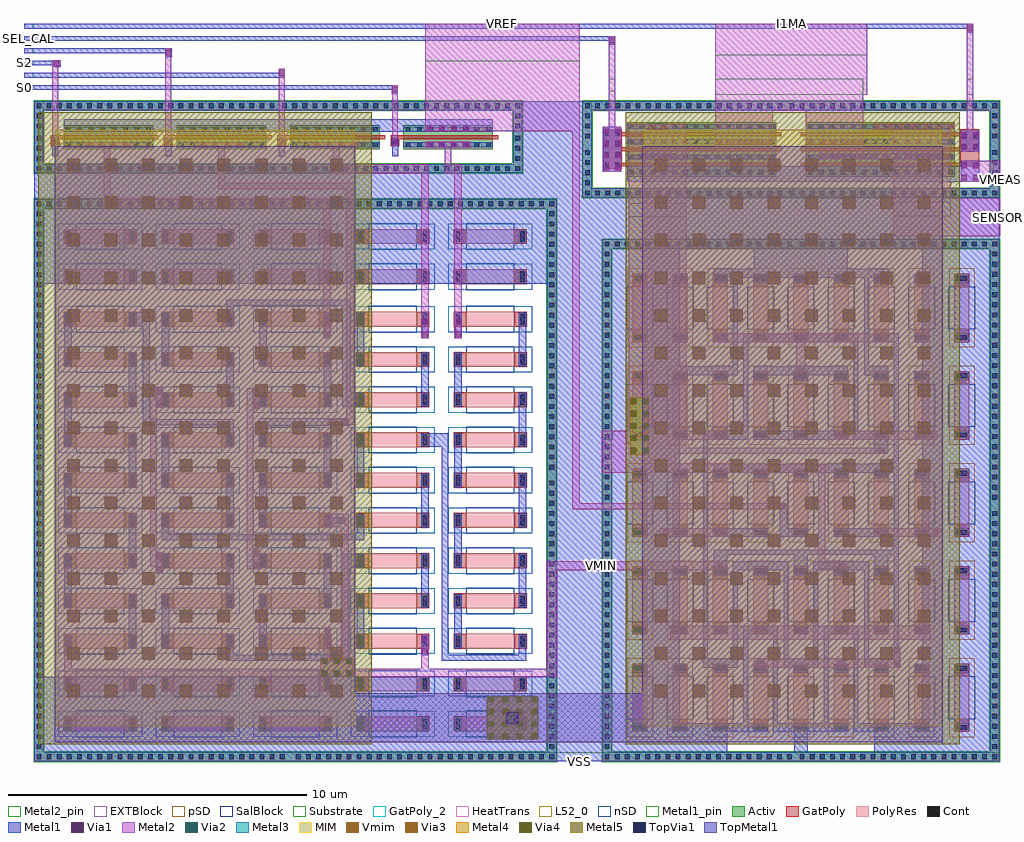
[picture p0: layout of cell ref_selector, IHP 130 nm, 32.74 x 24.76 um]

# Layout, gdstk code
from math import pi, radians
import gdstk
lib = gdstk.Library(unit=1e-6, precision=1e-09)
def R(c, l, rs):  # rectangles x0, y0, x1, y1
    for r in rs: c.add(gdstk.rectangle(r[:2], r[2:], *l))
def A(c, l, x, y, w, h, nx, ny, dx, dy):  # array of equal rectangles
    R(c, l, [(x+i*dx, y+j*dy, x+i*dx+w, y+j*dy+h) for i in range(nx) for j in range(ny)])
def P(c, l, *ps):  # polygons
    for p in ps: c.add(gdstk.Polygon(p, *l))
Activ = (1, 0)
GatPoly = (5, 0)
GatPoly_2 = (5, 2)
Cont = (6, 0)
nSD = (7, 0)
Metal1 = (8, 0)
Metal1_pin = (8, 2)
Metal2 = (10, 0)
Metal2_pin = (10, 2)
pSD = (14, 0)
Via1 = (19, 0)
SalBlock = (28, 0)
Via2 = (29, 0)
Metal3 = (30, 0)
MIM = (36, 0)
Substrate = (40, 0)
Via3 = (49, 0)
Metal4 = (50, 0)
HeatTrans = (51, 0)
L52_0 = (52, 0)
Via4 = (66, 0)
Metal5 = (67, 0)
EXTBlock = (111, 0)
TopVia1 = (125, 0)
TopMetal1 = (126, 0)
PolyRes = (128, 0)
Vmim = (129, 0)

rhigh_2 = lib.new_cell('rhigh$2')
A(rhigh_2, GatPoly, 0, -0.43, 0.5, 0.43, 3, 2, 1.35, 2.03)
A(rhigh_2, Cont, 0.07, -0.36, 0.36, 0.16, 3, 2, 1.35, 2.16)
A(rhigh_2, nSD, -0.18, -0.61, 0.86, 0.79, 3, 2, 1.35, 2.03)
R(rhigh_2, nSD, [(-0.18,0,0.68,1.6), (-0.18,0,0.68,1.6), (1.17,0,2.03,1.6), (1.17,0,2.03,1.6), (2.52,0,3.38,1.6), (2.52,0,3.38,1.6)])
A(rhigh_2, Metal1, 0.02, -0.41, 0.46, 0.26, 3, 2, 1.35, 2.16)
R(rhigh_2, Metal1, [(1.37,-0.41,3.18,-0.15), (0.02,1.75,1.83,2.01)])
A(rhigh_2, Metal1_pin, 0.02, -0.41, 0.46, 0.26, 3, 2, 1.35, 2.16)
A(rhigh_2, pSD, -0.18, -0.61, 0.86, 0.79, 3, 2, 1.35, 2.03)
R(rhigh_2, pSD, [(-0.18,0,0.68,1.6), (-0.18,0,0.68,1.6), (1.17,0,2.03,1.6), (1.17,0,2.03,1.6), (2.52,0,3.38,1.6), (2.52,0,3.38,1.6)])
A(rhigh_2, SalBlock, -0.2, 0, 0.9, 1.6, 3, 1, 1.35, 0)
A(rhigh_2, L52_0, 0, 0, 0.5, 1.6, 3, 1, 1.35, 0)
A(rhigh_2, EXTBlock, -0.18, -0.61, 0.86, 0.79, 3, 2, 1.35, 2.03)
A(rhigh_2, EXTBlock, -0.2, 0, 0.9, 1.6, 3, 1, 1.35, 0)
A(rhigh_2, PolyRes, 0, 0, 0.5, 1.6, 3, 1, 1.35, 0)
rhigh_2.add(gdstk.Label('rhigh r=5050.435', (0.25,0.8), layer=63, texttype=0))
rhigh_2.add(gdstk.Label('rhigh r=5050.435', (0.25,0.8), layer=63, texttype=0))
rhigh_2.add(gdstk.Label('rhigh r=5050.435', (0.25,0.8), layer=63, texttype=0))
rhigh_2.add(gdstk.Label('rhigh', (0.25,0.8), layer=52, texttype=0))
rhigh_2.add(gdstk.Label('rhigh', (1.6,0.8), layer=52, texttype=0))
rhigh_2.add(gdstk.Label('rhigh', (2.95,0.8), layer=52, texttype=0))

ref_selector_runit_h = lib.new_cell('ref_selector_runit_h')
ref_selector_runit_h.add(gdstk.Reference(rhigh_2, (-1.6,-0.8)))

via_stack_1 = lib.new_cell('via_stack$1')
R(via_stack_1, Metal1, [(-0.35,-0.105,0.35,0.105)])
R(via_stack_1, Metal2, [(-0.35,-0.1,0.35,0.1)])
R(via_stack_1, Via1, [(-0.3,-0.095,-0.11,0.095), (0.11,-0.095,0.3,0.095)])

rhigh_1_1 = lib.new_cell('rhigh$1$1')
R(rhigh_1_1, GatPoly, [(0,-0.43,0.5,0), (1.35,-0.43,1.85,0), (0,1.6,0.5,2.03), (1.35,1.6,1.85,2.03)])
R(rhigh_1_1, Cont, [(0.07,-0.36,0.43,-0.2), (1.42,-0.36,1.78,-0.2), (0.07,1.8,0.43,1.96), (1.42,1.8,1.78,1.96)])
R(rhigh_1_1, nSD, [(-0.18,-0.61,0.68,0.18), (1.17,-0.61,2.03,0.18), (-0.18,0,0.68,1.6), (-0.18,0,0.68,1.6), (1.17,0,2.03,1.6), (1.17,0,2.03,1.6), (-0.18,1.42,0.68,2.21), (1.17,1.42,2.03,2.21)])
R(rhigh_1_1, Metal1, [(0.02,-0.41,0.48,-0.15), (0.02,-0.41,1.83,-0.15), (1.37,-0.41,1.83,-0.15), (0.02,1.75,0.48,2.01), (0.02,1.75,1.83,2.01), (1.37,1.75,1.83,2.01)])
R(rhigh_1_1, Metal1_pin, [(0.02,-0.41,0.48,-0.15), (1.37,-0.41,1.83,-0.15), (0.02,1.75,0.48,2.01), (1.37,1.75,1.83,2.01)])
R(rhigh_1_1, pSD, [(-0.18,-0.61,0.68,0.18), (1.17,-0.61,2.03,0.18), (-0.18,0,0.68,1.6), (-0.18,0,0.68,1.6), (1.17,0,2.03,1.6), (1.17,0,2.03,1.6), (-0.18,1.42,0.68,2.21), (1.17,1.42,2.03,2.21)])
R(rhigh_1_1, SalBlock, [(-0.2,0,0.7,1.6), (1.15,0,2.05,1.6)])
R(rhigh_1_1, L52_0, [(0,0,0.5,1.6), (1.35,0,1.85,1.6)])
R(rhigh_1_1, EXTBlock, [(-0.18,-0.61,0.68,0.18), (1.17,-0.61,2.03,0.18), (-0.2,0,0.7,1.6), (1.15,0,2.05,1.6), (-0.18,1.42,0.68,2.21), (1.17,1.42,2.03,2.21)])
R(rhigh_1_1, PolyRes, [(0,0,0.5,1.6), (1.35,0,1.85,1.6)])
rhigh_1_1.add(gdstk.Label('rhigh r=5050.435', (0.25,0.8), layer=63, texttype=0))
rhigh_1_1.add(gdstk.Label('rhigh r=5050.435', (0.25,0.8), layer=63, texttype=0))
rhigh_1_1.add(gdstk.Label('rhigh', (0.25,0.8), layer=52, texttype=0))
rhigh_1_1.add(gdstk.Label('rhigh', (1.6,0.8), layer=52, texttype=0))

via_stack_2_2 = lib.new_cell('via_stack$2$2')
R(via_stack_2_2, Metal1, [(-0.105,-0.35,0.105,0.35)])
R(via_stack_2_2, Metal2, [(-0.1,-0.35,0.1,0.35)])
R(via_stack_2_2, Via1, [(-0.095,-0.3,0.095,-0.11), (-0.095,0.11,0.095,0.3)])

guard_ring_1 = lib.new_cell('guard_ring$1')
R(guard_ring_1, Activ, [(-9.425,-8.45,-9.125,8.45), (9.125,-8.45,9.425,8.45), (-9.425,8.45,9.425,8.75)])
P(guard_ring_1, Activ, [(-9.425,-8.75),(-9.425,8.45),(-9.125,8.45),(-9.125,-8.45),(9.125,-8.45),(9.125,8.45),(-9.425,8.45),(-9.425,8.75),(9.425,8.75),(9.425,-8.75)])
A(guard_ring_1, Cont, -9.355, -8.68, 0.16, 0.16, 27, 2, 0.34, 17.2)
A(guard_ring_1, Cont, 0.015, -8.68, 0.16, 0.16, 28, 2, 0.34, 17.2)
A(guard_ring_1, Cont, -9.355, -8.34, 0.16, 0.16, 1, 24, 0, 0.34)
A(guard_ring_1, Cont, 9.195, -8.34, 0.16, 0.16, 1, 24, 0, 0.34)
A(guard_ring_1, Cont, -9.355, 0.02, 0.16, 0.16, 1, 25, 0, 0.34)
A(guard_ring_1, Cont, 9.195, 0.02, 0.16, 0.16, 1, 25, 0, 0.34)
R(guard_ring_1, Metal1, [(-9.425,-8.75,9.425,-8.45), (-9.425,-8.45,-9.125,8.45), (9.125,-8.45,9.425,8.45), (-9.425,8.45,9.425,8.75)])
R(guard_ring_1, pSD, [(-9.455,-8.42,-9.095,8.42), (9.095,-8.42,9.455,8.42), (-9.455,8.42,9.455,8.78)])
P(guard_ring_1, pSD, [(-9.455,-8.78),(-9.455,8.42),(-9.095,8.42),(-9.095,-8.42),(9.095,-8.42),(9.095,8.42),(-9.455,8.42),(-9.455,8.78),(9.455,8.78),(9.455,-8.78)])
R(guard_ring_1, Substrate, [(-9.455,-8.42,-9.095,8.42), (9.095,-8.42,9.455,8.42), (-9.455,8.42,9.455,8.78)])
P(guard_ring_1, Substrate, [(-9.455,-8.78),(-9.455,8.42),(-9.095,8.42),(-9.095,-8.42),(9.095,-8.42),(9.095,8.42),(-9.455,8.42),(-9.455,8.78),(9.455,8.78),(9.455,-8.78)])
guard_ring_1.add(gdstk.Label('sub!', (0,-8.6), layer=63, texttype=0))

ref_selector_r_refs = lib.new_cell('ref_selector_r_refs')
R(ref_selector_r_refs, Metal1, [(-9.425,-8.75,-6.595,8.75), (6.595,-8.75,9.425,8.75), (-2.93,-7.75,-1.12,-7.49), (-5.63,-5.59,-5.17,-4.885), (1.12,-5.59,2.93,-5.33), (-5.63,-5.11,-1.845,-4.885), (-2.045,-5.11,-1.845,-2.06), (1.12,-4.48,2.01,-4.22), (1.81,-4.48,2.01,2.32), (-6.055,-2.32,-5.855,1.84), (-6.055,-2.32,-5.17,-2.06), (-2.045,-2.32,-1.12,-2.06), (5.17,-2.32,6.055,-2.06), (5.855,-2.32,6.055,1.84), (-2.08,-1.21,-1.12,-0.95), (-2.08,-1.21,-1.825,1.795), (-6.055,1.58,-2.47,1.84), (-2.93,1.58,-2.47,2.32), (2.47,1.58,2.93,2.32), (2.47,1.58,6.055,1.84), (1.12,2.06,2.01,2.32), (-1.58,4.22,-1.12,5.125), (-1.58,4.92,6.055,5.125), (5.855,4.92,6.055,7.75), (1.12,5.33,2.93,5.59), (-2.93,7.49,-1.12,7.75), (5.17,7.49,6.055,7.75)])
R(ref_selector_r_refs, Metal1_pin, [(-9.425,-8.75,9.425,-8.45)])
R(ref_selector_r_refs, Metal2, [(5.17,-7.75,6.595,-7.49), (6.325,-7.75,6.595,8.78), (-3.125,-4.86,2.885,-4.655), (-3.085,-1.62,2.98,-1.415), (-9.455,0.94,-4.76,1.185), (1.12,0.95,1.58,1.79), (5.17,0.95,6.595,1.21), (1.12,1.53,6.595,1.79), (-9.455,1.71,-1.855,1.955), (5.17,4.22,6.595,4.48), (-9.455,4.23,-4.76,4.475), (-9.455,5.34,-4.76,5.585)])
R(ref_selector_r_refs, Metal2_pin, [(-9.455,0.94,-9.095,1.185), (-9.455,1.71,-9.095,1.955), (-9.455,4.23,-9.095,4.475), (-9.455,5.34,-9.125,5.585), (6.325,8.52,6.595,8.78)])
ref_selector_r_refs.add(gdstk.Reference(ref_selector_runit_h, (4.05,-6.54), x_reflection=True))
ref_selector_r_refs.add(gdstk.Reference(ref_selector_runit_h, (0,-6.54)))
ref_selector_r_refs.add(gdstk.Reference(ref_selector_runit_h, (-4.05,-6.54), x_reflection=True))
ref_selector_r_refs.add(gdstk.Reference(ref_selector_runit_h, (4.05,-3.27)))
ref_selector_r_refs.add(gdstk.Reference(ref_selector_runit_h, (0,-3.27), x_reflection=True))
ref_selector_r_refs.add(gdstk.Reference(ref_selector_runit_h, (-4.05,-3.27), x_reflection=True))
ref_selector_r_refs.add(gdstk.Reference(ref_selector_runit_h, (4.05,0), rotation=pi))
ref_selector_r_refs.add(gdstk.Reference(ref_selector_runit_h, (0,0)))
ref_selector_r_refs.add(gdstk.Reference(ref_selector_runit_h, (-4.05,0), rotation=pi, x_reflection=True))
ref_selector_r_refs.add(gdstk.Reference(ref_selector_runit_h, (4.05,3.27)))
ref_selector_r_refs.add(gdstk.Reference(ref_selector_runit_h, (0,3.27), x_reflection=True))
ref_selector_r_refs.add(gdstk.Reference(ref_selector_runit_h, (-4.05,3.27), x_reflection=True))
ref_selector_r_refs.add(gdstk.Reference(ref_selector_runit_h, (4.05,6.54)))
ref_selector_r_refs.add(gdstk.Reference(ref_selector_runit_h, (0,6.54), x_reflection=True))
ref_selector_r_refs.add(gdstk.Reference(ref_selector_runit_h, (-4.05,6.54)))
ref_selector_r_refs.add(gdstk.Reference(via_stack_1, (2.775,-4.555)))
ref_selector_r_refs.add(gdstk.Reference(via_stack_1, (-2.775,-4.555)))
ref_selector_r_refs.add(gdstk.Reference(via_stack_1, (2.63,-1.315)))
ref_selector_r_refs.add(gdstk.Reference(via_stack_1, (-2.735,-1.315)))
r = gdstk.Reference(rhigh_1_1, (-8.425,-7.34)); r.repetition = gdstk.Repetition(2, 5, v1=(15,0), v2=(0,3.27)); ref_selector_r_refs.add(r)
ref_selector_r_refs.add(gdstk.Reference(via_stack_2_2, (1.35,1.33)))
ref_selector_r_refs.add(gdstk.Reference(via_stack_1, (5.52,4.34)))
ref_selector_r_refs.add(gdstk.Reference(via_stack_1, (5.275,1.09)))
ref_selector_r_refs.add(gdstk.Reference(via_stack_1, (5.525,-7.615)))
ref_selector_r_refs.add(gdstk.Reference(via_stack_2_2, (-1.955,1.44)))
ref_selector_r_refs.add(gdstk.Reference(via_stack_1, (-5.11,1.07)))
ref_selector_r_refs.add(gdstk.Reference(via_stack_1, (-5.11,4.36)))
ref_selector_r_refs.add(gdstk.Reference(via_stack_1, (-5.11,5.47)))
ref_selector_r_refs.add(gdstk.Reference(guard_ring_1, (0,0)))
ref_selector_r_refs.add(gdstk.Label('VSS', (0,-8.75), layer=8, texttype=2))
ref_selector_r_refs.add(gdstk.Label('R2', (-9.455,1.063), layer=10, texttype=2))
ref_selector_r_refs.add(gdstk.Label('R3', (-9.455,1.833), layer=10, texttype=2))
ref_selector_r_refs.add(gdstk.Label('Vmin', (6.43,8.775), layer=10, texttype=2))
ref_selector_r_refs.add(gdstk.Label('R1', (-9.455,4.353), layer=10, texttype=2))
ref_selector_r_refs.add(gdstk.Label('R0', (-9.455,5.463), layer=10, texttype=2))

guard_ring_6 = lib.new_cell('guard_ring$6')
R(guard_ring_6, Activ, [(-1.205,-7.88,-0.905,7.88), (0.905,-7.88,1.205,7.88), (-1.205,7.88,1.205,8.18)])
P(guard_ring_6, Activ, [(-1.205,-8.18),(-1.205,7.88),(-0.905,7.88),(-0.905,-7.88),(0.905,-7.88),(0.905,7.88),(-1.205,7.88),(-1.205,8.18),(1.205,8.18),(1.205,-8.18)])
A(guard_ring_6, Cont, -1.135, -8.11, 0.16, 0.16, 3, 2, 0.34, 16.06)
A(guard_ring_6, Cont, -0.045, -8.11, 0.16, 0.16, 4, 2, 0.34, 16.06)
A(guard_ring_6, Cont, -1.135, -7.77, 0.16, 0.16, 1, 23, 0, 0.34)
A(guard_ring_6, Cont, 0.975, -7.77, 0.16, 0.16, 1, 23, 0, 0.34)
A(guard_ring_6, Cont, -1.135, 0.13, 0.16, 0.16, 1, 23, 0, 0.34)
A(guard_ring_6, Cont, 0.975, 0.13, 0.16, 0.16, 1, 23, 0, 0.34)
R(guard_ring_6, Metal1, [(-1.205,-8.18,1.205,-7.88), (-1.205,-7.88,-0.905,7.88), (0.905,-7.88,1.205,7.88), (-1.205,7.88,1.205,8.18)])
R(guard_ring_6, pSD, [(-1.235,-7.85,-0.875,7.85), (0.875,-7.85,1.235,7.85), (-1.235,7.85,1.235,8.21)])
P(guard_ring_6, pSD, [(-1.235,-8.21),(-1.235,7.85),(-0.875,7.85),(-0.875,-7.85),(0.875,-7.85),(0.875,7.85),(-1.235,7.85),(-1.235,8.21),(1.235,8.21),(1.235,-8.21)])
R(guard_ring_6, Substrate, [(-1.235,-7.85,-0.875,7.85), (0.875,-7.85,1.235,7.85), (-1.235,7.85,1.235,8.21)])
P(guard_ring_6, Substrate, [(-1.235,-8.21),(-1.235,7.85),(-0.875,7.85),(-0.875,-7.85),(0.875,-7.85),(0.875,7.85),(-1.235,7.85),(-1.235,8.21),(1.235,8.21),(1.235,-8.21)])
guard_ring_6.add(gdstk.Label('sub!', (0,-8.03), layer=63, texttype=0))

nmos_1_1 = lib.new_cell('nmos$1$1')
R(nmos_1_1, Activ, [(0,0,0.3,0.3), (0,0,0.81,3), (0.51,0,0.81,0.3)])
R(nmos_1_1, GatPoly, [(0.34,-0.18,0.47,3.18)])
R(nmos_1_1, GatPoly_2, [(0.34,-0.18,0.47,3.18)])
A(nmos_1_1, Cont, 0.07, 0.07, 0.16, 0.16, 1, 7, 0, 0.385)
A(nmos_1_1, Cont, 0.58, 0.07, 0.16, 0.16, 1, 7, 0, 0.385)
R(nmos_1_1, Cont, [(0.07,2.77,0.23,2.93), (0.58,2.77,0.74,2.93)])
R(nmos_1_1, Metal1, [(0.07,0,0.23,3), (0.58,0,0.74,3)])
R(nmos_1_1, Metal1_pin, [(0.07,0,0.23,3), (0.58,0,0.74,3)])
R(nmos_1_1, HeatTrans, [(0.34,-0.18,0.47,3.18)])
nmos_1_1.add(gdstk.Label('nmos', (0.405,1.5), layer=63, texttype=0))
nmos_1_1.add(gdstk.Label('nmos', (0.405,1.5), layer=51, texttype=0))

via_stack_32 = lib.new_cell('via_stack$32')
R(via_stack_32, GatPoly, [(-0.15,-0.15,0.15,0.15)])
R(via_stack_32, Cont, [(-0.08,-0.08,0.08,0.08)])
R(via_stack_32, Metal1, [(-0.145,-0.105,0.145,0.105)])
R(via_stack_32, Metal2, [(-0.145,-0.1,0.145,0.1)])
R(via_stack_32, Via1, [(-0.095,-0.095,0.095,0.095)])

via_stack_4_2 = lib.new_cell('via_stack$4$2')
R(via_stack_4_2, Metal1, [(-0.105,-0.76,0.105,0.76)])
R(via_stack_4_2, Metal2, [(-0.1,-0.76,0.1,0.76)])
A(via_stack_4_2, Via1, -0.095, -0.71, 0.19, 0.19, 1, 4, 0, 0.41)

ref_selector_r_switch = lib.new_cell('ref_selector_r_switch')
A(ref_selector_r_switch, GatPoly, -0.065, -7.635, 0.38, 0.3, 1, 4, 0, 3.8)
A(ref_selector_r_switch, Metal1, 0.02, -7.585, 0.615, 0.205, 1, 4, 0, 3.8)
R(ref_selector_r_switch, Metal1, [(-0.595,-7.2,-0.175,7.2)])
R(ref_selector_r_switch, Metal1_pin, [(-1.205,-8.18,1.205,-7.88)])
A(ref_selector_r_switch, Metal2, -1.235, -7.585, 1.545, 0.2, 1, 4, 0, 3.8)
A(ref_selector_r_switch, Metal2, 0.16, -5.855, 1.075, 0.22, 1, 3, 0, 3.845)
R(ref_selector_r_switch, Metal2, [(-1.235,4.925,-0.19,6.45), (0.16,5.58,1.235,5.8)])
A(ref_selector_r_switch, Metal2_pin, -1.235, -7.585, 0.36, 0.2, 1, 4, 0, 3.8)
A(ref_selector_r_switch, Metal2_pin, 0.94, -5.855, 0.295, 0.22, 1, 3, 0, 3.845)
R(ref_selector_r_switch, Metal2_pin, [(-1.235,4.925,-0.875,6.45), (0.94,5.58,1.235,5.8)])
ref_selector_r_switch.add(gdstk.Reference(guard_ring_6, (0,0)))
r = gdstk.Reference(nmos_1_1, (-0.405,-7.2)); r.repetition = gdstk.Repetition(1, 4, v1=(0,0), v2=(0,3.8)); ref_selector_r_switch.add(r)
ref_selector_r_switch.add(gdstk.Reference(via_stack_32, (0.165,3.915)))
ref_selector_r_switch.add(gdstk.Reference(via_stack_32, (0.165,0.115)))
ref_selector_r_switch.add(gdstk.Reference(via_stack_32, (0.165,-3.685)))
ref_selector_r_switch.add(gdstk.Reference(via_stack_32, (0.165,-7.485)))
ref_selector_r_switch.add(gdstk.Reference(via_stack_4_2, (0.255,5.69)))
ref_selector_r_switch.add(gdstk.Reference(via_stack_4_2, (0.255,1.945)))
ref_selector_r_switch.add(gdstk.Reference(via_stack_4_2, (0.255,-1.9)))
ref_selector_r_switch.add(gdstk.Reference(via_stack_4_2, (0.255,-5.745)))
ref_selector_r_switch.add(gdstk.Reference(via_stack_4_2, (-0.29,5.69)))
ref_selector_r_switch.add(gdstk.Label('vss', (0,-8.18), layer=8, texttype=2))
ref_selector_r_switch.add(gdstk.Label('vref', (-1.235,5.545), layer=10, texttype=2))
ref_selector_r_switch.add(gdstk.Label('S0', (-1.235,3.915), layer=10, texttype=2))
ref_selector_r_switch.add(gdstk.Label('S1', (-1.235,0.115), layer=10, texttype=2))
ref_selector_r_switch.add(gdstk.Label('S2', (-1.235,-7.47), layer=10, texttype=2))
ref_selector_r_switch.add(gdstk.Label('S3', (-1.235,-3.63), layer=10, texttype=2))
ref_selector_r_switch.add(gdstk.Label('R0', (1.235,5.69), layer=10, texttype=2))
ref_selector_r_switch.add(gdstk.Label('R1', (1.235,1.945), layer=10, texttype=2))
ref_selector_r_switch.add(gdstk.Label('R2', (1.235,-5.69), layer=10, texttype=2))
ref_selector_r_switch.add(gdstk.Label('R3', (1.235,-1.895), layer=10, texttype=2))

via_stack_3_2 = lib.new_cell('via_stack$3$2')
R(via_stack_3_2, Metal1, [(-0.145,-0.105,0.145,0.105)])
R(via_stack_3_2, Metal2, [(-0.145,-0.1,0.145,0.1)])
R(via_stack_3_2, Via1, [(-0.095,-0.095,0.095,0.095)])

rppd_1 = lib.new_cell('rppd$1')
R(rppd_1, GatPoly, [(0,-0.43,0.5,-0.2), (0,-0.2,0.5,0), (0,1.43,0.5,1.63), (0,1.63,0.5,1.86)])
R(rppd_1, Cont, [(0.07,-0.36,0.43,-0.2), (0.07,1.63,0.43,1.79)])
R(rppd_1, Metal1, [(0.02,-0.43,0.48,-0.13), (0.02,1.56,0.48,1.86)])
R(rppd_1, Metal1_pin, [(0.02,-0.43,0.48,-0.13), (0.02,1.56,0.48,1.86)])
R(rppd_1, pSD, [(-0.18,-0.61,0.68,0), (-0.18,0,0.68,1.43), (-0.18,1.43,0.68,2.04)])
R(rppd_1, SalBlock, [(-0.2,0,0.7,1.43)])
R(rppd_1, L52_0, [(0,0,0.5,1.43)])
R(rppd_1, EXTBlock, [(-0.18,-0.61,0.68,0), (-0.2,0,0.7,1.43), (-0.18,1.43,0.68,2.04)])
R(rppd_1, PolyRes, [(0,0,0.5,1.43)])
rppd_1.add(gdstk.Label('rppd r=874.783', (0.25,0.715), layer=63, texttype=0))
rppd_1.add(gdstk.Label('rppd', (0.25,0.715), layer=52, texttype=0))

guard_ring_2 = lib.new_cell('guard_ring$2')
R(guard_ring_2, Activ, [(-6.65,-8.45,-6.35,8.45), (6.35,-8.45,6.65,8.45), (-6.65,8.45,6.65,8.75)])
P(guard_ring_2, Activ, [(-6.65,-8.75),(-6.65,8.45),(-6.35,8.45),(-6.35,-8.45),(6.35,-8.45),(6.35,8.45),(-6.65,8.45),(-6.65,8.75),(6.65,8.75),(6.65,-8.75)])
A(guard_ring_2, Cont, -6.58, -8.68, 0.16, 0.16, 19, 2, 0.34, 17.2)
A(guard_ring_2, Cont, -0.04, -8.68, 0.16, 0.16, 20, 2, 0.34, 17.2)
A(guard_ring_2, Cont, -6.58, -8.34, 0.16, 0.16, 1, 24, 0, 0.34)
A(guard_ring_2, Cont, 6.42, -8.34, 0.16, 0.16, 1, 24, 0, 0.34)
A(guard_ring_2, Cont, -6.58, 0.02, 0.16, 0.16, 1, 25, 0, 0.34)
A(guard_ring_2, Cont, 6.42, 0.02, 0.16, 0.16, 1, 25, 0, 0.34)
R(guard_ring_2, Metal1, [(-6.65,-8.75,6.65,-8.45), (-6.65,-8.45,-6.35,8.45), (6.35,-8.45,6.65,8.45), (-6.65,8.45,6.65,8.75)])
R(guard_ring_2, pSD, [(-6.68,-8.42,-6.32,8.42), (6.32,-8.42,6.68,8.42), (-6.68,8.42,6.68,8.78)])
P(guard_ring_2, pSD, [(-6.68,-8.78),(-6.68,8.42),(-6.32,8.42),(-6.32,-8.42),(6.32,-8.42),(6.32,8.42),(-6.68,8.42),(-6.68,8.78),(6.68,8.78),(6.68,-8.78)])
R(guard_ring_2, Substrate, [(-6.68,-8.42,-6.32,8.42), (6.32,-8.42,6.68,8.42), (-6.68,8.42,6.68,8.78)])
P(guard_ring_2, Substrate, [(-6.68,-8.78),(-6.68,8.42),(-6.32,8.42),(-6.32,-8.42),(6.32,-8.42),(6.32,8.42),(-6.68,8.42),(-6.68,8.78),(6.68,8.78),(6.68,-8.78)])
guard_ring_2.add(gdstk.Label('sub!', (0,-8.6), layer=63, texttype=0))

ref_selector_r_96 = lib.new_cell('ref_selector_r_96')
R(ref_selector_r_96, Metal1, [(-6.65,-8.75,-4.07,8.75), (-4.555,-8.75,-2.47,-7.47), (-0.23,-8.75,0.23,-7.47), (2.47,-8.75,4.48,-7.47), (4.065,-8.75,6.65,8.75), (-2.93,-7.77,-1.78,-7.47), (-2.055,-7.77,-1.12,-7.47), (-1.93,-7.77,-1.77,-4.2), (-0.93,-7.77,-0.77,-4.2), (-0.92,-7.77,0.23,-7.47), (-0.23,-7.77,0.92,-7.47), (0.77,-7.77,0.93,-4.2), (0.77,-7.77,1.58,-7.47), (1.77,-7.77,1.93,-4.2), (1.78,-7.77,2.93,-7.47), (-3.28,-5.61,-2.47,-5.31), (-3.28,-5.61,-3.12,2.34), (-2.93,-5.61,-2.12,-5.31), (-2.28,-5.61,-2.12,-2.04), (-0.58,-5.61,-0.42,-2.04), (-0.58,-5.61,0.23,-5.31), (-0.23,-5.61,0.58,-5.31), (0.42,-5.61,0.58,-2.04), (2.12,-5.61,2.28,-2.04), (2.12,-5.61,2.93,-5.31), (3.12,-5.61,3.28,5.61), (-1.8,-4.5,-1.51,-4.2), (-1.19,-4.5,-0.9,-4.2), (0.9,-4.5,1.19,-4.2), (1.51,-4.5,1.8,-4.2), (-2.93,-2.34,-2.47,-1.65), (-2.28,-2.34,-1.12,-2.04), (-1.58,-2.34,-0.42,-2.04), (-0.225,-2.34,0.235,-1.65), (0.42,-2.34,1.58,-2.04), (1.08,-2.34,2.28,-2.04), (2.47,-2.34,2.93,-1.65), (-2.93,-1.83,3.28,-1.65), (-2.93,-1.23,-1.12,-0.93), (-0.7,-1.23,0.23,-0.93), (-0.7,-1.23,-0.45,-0.095), (1.12,-1.23,2.93,-0.93), (-2.93,0.93,2.93,1.23), (2.545,0.93,3.28,1.23), (2.47,1.565,2.93,2.34), (-3.15,2.04,-2.86,2.34), (-2.93,2.04,-1.78,2.34), (-1.93,2.04,-1.77,5.61), (-1.58,2.04,1.58,2.34), (1.77,2.04,1.93,5.61), (1.78,2.04,2.93,2.34), (-4.385,4.2,-2.47,4.5), (-2.93,4.2,-2.12,4.5), (-2.28,4.2,-2.12,7.77), (-1.58,4.2,1.58,4.5), (2.12,4.2,2.28,7.77), (2.12,4.2,2.93,4.5), (-1.8,5.31,-1.51,5.61), (-1.58,5.31,1.58,5.61), (1.51,5.31,1.8,5.61), (2.86,5.31,3.15,5.61), (-2.93,7.47,-1.96,7.77), (-2.28,7.47,-1.12,7.77), (-1.58,7.47,1.58,8.75), (1.12,7.47,2.28,7.77), (1.935,7.47,2.93,7.77)])
R(ref_selector_r_96, Metal1_pin, [(-6.65,-8.75,6.65,-8.45)])
R(ref_selector_r_96, Metal2, [(-1.58,-5.61,3.28,-5.31), (-4.385,-4.68,4.36,-4.2), (-6.68,-2.34,-2.47,-2.04), (0.58,-2.29,1.49,-2.09), (0.58,-2.29,0.815,1.23), (-4.74,-1.23,-2.49,-0.93), (2.47,-1.23,4.72,-0.93), (-6.68,-0.295,-0.45,-0.095), (-6.68,0.93,-4.19,2.34), (-6.68,0.93,0.815,1.23), (-6.68,1.57,2.845,1.77), (-6.68,2.04,-2.47,2.34), (1.12,2.04,4.57,2.34), (-0.15,4.25,0.14,5.61), (-2.93,5.31,2.93,5.61)])
R(ref_selector_r_96, Metal2_pin, [(-6.68,-2.34,-6.29,-2.04), (6.34,-1.845,6.68,-1.645), (-6.68,-0.295,-6.32,-0.095), (-6.68,2.04,-6.315,2.34)])
ref_selector_r_96.add(gdstk.Reference(via_stack_2_2, (3.225,-5.26)))
ref_selector_r_96.add(gdstk.Reference(via_stack_3_2, (-2.725,5.455)))
ref_selector_r_96.add(gdstk.Reference(via_stack_3_2, (2.75,5.455)))
ref_selector_r_96.add(gdstk.Reference(via_stack_3_2, (-0.005,4.35)))
ref_selector_r_96.add(gdstk.Reference(via_stack_3_2, (1.34,2.19)))
ref_selector_r_96.add(gdstk.Reference(via_stack_3_2, (4.405,2.19)))
ref_selector_r_96.add(gdstk.Reference(via_stack_3_2, (2.69,-1.08)))
ref_selector_r_96.add(gdstk.Reference(via_stack_3_2, (4.515,-1.08)))
ref_selector_r_96.add(gdstk.Reference(via_stack_3_2, (-4.52,-1.08)))
ref_selector_r_96.add(gdstk.Reference(via_stack_3_2, (-2.695,-1.08)))
ref_selector_r_96.add(gdstk.Reference(via_stack_3_2, (-1.35,-5.47)))
ref_selector_r_96.add(gdstk.Reference(via_stack_3_2, (1.35,-5.47)))
ref_selector_r_96.add(gdstk.Reference(via_stack_3_2, (2.7,-4.355)))
ref_selector_r_96.add(gdstk.Reference(via_stack_3_2, (1.37,-4.355)))
ref_selector_r_96.add(gdstk.Reference(via_stack_3_2, (0,-4.355)))
ref_selector_r_96.add(gdstk.Reference(via_stack_3_2, (-1.325,-4.355)))
ref_selector_r_96.add(gdstk.Reference(via_stack_3_2, (-2.73,-4.355)))
r = gdstk.Reference(rppd_1, (-5.65,-7.34)); r.repetition = gdstk.Repetition(9, 5, v1=(1.35,0), v2=(0,3.27)); ref_selector_r_96.add(r)
ref_selector_r_96.add(gdstk.Reference(guard_ring_2, (0,0)))
ref_selector_r_96.add(gdstk.Reference(via_stack_3_2, (-2.69,2.19)))
ref_selector_r_96.add(gdstk.Reference(via_stack_3_2, (-0.595,-0.195)))
ref_selector_r_96.add(gdstk.Reference(via_stack_3_2, (2.7,1.67)))
ref_selector_r_96.add(gdstk.Reference(via_stack_3_2, (-4.235,-4.34)))
ref_selector_r_96.add(gdstk.Reference(via_stack_3_2, (4.215,-4.34)))
ref_selector_r_96.add(gdstk.Reference(via_stack_3_2, (1.345,-2.19)))
ref_selector_r_96.add(gdstk.Reference(via_stack_3_2, (-2.695,-2.185)))
ref_selector_r_96.add(gdstk.Label('vss', (0,-8.75), layer=8, texttype=2))
ref_selector_r_96.add(gdstk.Label('vmin', (-6.68,-2.19), layer=10, texttype=2))
ref_selector_r_96.add(gdstk.Label('vcal', (-6.68,2.19), layer=10, texttype=2))
ref_selector_r_96.add(gdstk.Label('vref', (-6.68,-0.195), layer=10, texttype=2))

via_stack_6_2 = lib.new_cell('via_stack$6$2')
R(via_stack_6_2, Metal1, [(-0.105,-0.965,0.105,0.965)])
R(via_stack_6_2, Metal2, [(-0.1,-0.965,0.1,0.965)])
A(via_stack_6_2, Via1, -0.095, -0.915, 0.19, 0.19, 1, 5, 0, 0.41)

via_stack_20_2 = lib.new_cell('via_stack$20$2')
R(via_stack_20_2, Metal1, [(-0.105,-2.195,0.105,2.195)])
R(via_stack_20_2, Metal2, [(-0.1,-2.195,0.1,2.195)])
A(via_stack_20_2, Via1, -0.095, -2.145, 0.19, 0.19, 1, 11, 0, 0.41)

nmos_2_1 = lib.new_cell('nmos$2$1')
A(nmos_2_1, Activ, 0, 0, 0.3, 0.3, 4, 1, 0.51, 0)
R(nmos_2_1, Activ, [(0,0,1.83,5)])
A(nmos_2_1, GatPoly, 0.34, -0.18, 0.13, 5.36, 3, 1, 0.51, 0)
R(nmos_2_1, GatPoly_2, [(0.34,-0.18,0.47,5.18)])
A(nmos_2_1, Cont, 0.07, 0.07, 0.16, 0.16, 4, 4, 0.51, 0.36)
A(nmos_2_1, Cont, 0.07, 1.515, 0.16, 0.16, 4, 3, 0.51, 0.36)
A(nmos_2_1, Cont, 0.07, 2.6, 0.16, 0.16, 4, 3, 0.51, 0.36)
A(nmos_2_1, Cont, 0.07, 3.685, 0.16, 0.16, 4, 3, 0.51, 0.36)
A(nmos_2_1, Cont, 0.07, 4.77, 0.16, 0.16, 4, 1, 0.51, 0)
A(nmos_2_1, Metal1, 0.07, 0, 0.16, 5, 4, 1, 0.51, 0)
R(nmos_2_1, Metal1_pin, [(0.07,0,0.23,5), (0.58,0,0.74,5)])
A(nmos_2_1, HeatTrans, 0.34, -0.18, 0.13, 5.36, 3, 1, 0.51, 0)
nmos_2_1.add(gdstk.Label('nmos', (0.405,2.5), layer=63, texttype=0))
nmos_2_1.add(gdstk.Label('nmos', (0.405,2.5), layer=51, texttype=0))
nmos_2_1.add(gdstk.Label('nmos', (0.915,2.5), layer=51, texttype=0))
nmos_2_1.add(gdstk.Label('nmos', (1.425,2.5), layer=51, texttype=0))

guard_ring_3_1 = lib.new_cell('guard_ring$3$1')
R(guard_ring_3_1, Activ, [(-1.615,-6.68,-1.315,6.68), (1.315,-6.68,1.615,6.68), (-1.615,6.68,1.615,6.98)])
P(guard_ring_3_1, Activ, [(-1.615,-6.98),(-1.615,6.68),(-1.315,6.68),(-1.315,-6.68),(1.315,-6.68),(1.315,6.68),(-1.615,6.68),(-1.615,6.98),(1.615,6.98),(1.615,-6.98)])
A(guard_ring_3_1, Cont, -1.545, -6.91, 0.16, 0.16, 4, 2, 0.34, 13.66)
A(guard_ring_3_1, Cont, 0.025, -6.91, 0.16, 0.16, 5, 2, 0.34, 13.66)
A(guard_ring_3_1, Cont, -1.545, -6.57, 0.16, 0.16, 1, 19, 0, 0.34)
A(guard_ring_3_1, Cont, 1.385, -6.57, 0.16, 0.16, 1, 19, 0, 0.34)
A(guard_ring_3_1, Cont, -1.545, -0.05, 0.16, 0.16, 1, 20, 0, 0.34)
A(guard_ring_3_1, Cont, 1.385, -0.05, 0.16, 0.16, 1, 20, 0, 0.34)
R(guard_ring_3_1, Metal1, [(-1.615,-6.98,1.615,-6.68), (-1.615,-6.68,-1.315,6.68), (1.315,-6.68,1.615,6.68), (-1.615,6.68,1.615,6.98)])
R(guard_ring_3_1, pSD, [(-1.645,-6.65,-1.285,6.65), (1.285,-6.65,1.645,6.65), (-1.645,6.65,1.645,7.01)])
P(guard_ring_3_1, pSD, [(-1.645,-7.01),(-1.645,6.65),(-1.285,6.65),(-1.285,-6.65),(1.285,-6.65),(1.285,6.65),(-1.645,6.65),(-1.645,7.01),(1.645,7.01),(1.645,-7.01)])
R(guard_ring_3_1, Substrate, [(-1.645,-6.65,-1.285,6.65), (1.285,-6.65,1.645,6.65), (-1.645,6.65,1.645,7.01)])
P(guard_ring_3_1, Substrate, [(-1.645,-7.01),(-1.645,6.65),(-1.285,6.65),(-1.285,-6.65),(1.285,-6.65),(1.285,6.65),(-1.645,6.65),(-1.645,7.01),(1.645,7.01),(1.645,-7.01)])
guard_ring_3_1.add(gdstk.Label('sub!', (0,-6.83), layer=63, texttype=0))

via_stack_8_2 = lib.new_cell('via_stack$8$2')
R(via_stack_8_2, GatPoly, [(-0.66,-0.32,0.66,0.32)])
A(via_stack_8_2, Cont, -0.59, -0.25, 0.16, 0.16, 4, 2, 0.34, 0.34)
R(via_stack_8_2, Metal1, [(-0.76,-0.31,0.76,0.31)])
R(via_stack_8_2, Metal2, [(-0.76,-0.305,0.76,0.305)])
A(via_stack_8_2, Via1, -0.71, -0.3, 0.19, 0.19, 4, 2, 0.41, 0.41)

via_stack_18_2 = lib.new_cell('via_stack$18$2')
R(via_stack_18_2, Metal1, [(-0.35,-0.31,0.35,0.31)])
R(via_stack_18_2, Metal2, [(-0.35,-0.305,0.35,0.305)])
R(via_stack_18_2, Via1, [(-0.3,-0.3,-0.11,-0.11), (0.11,-0.3,0.3,-0.11), (-0.3,0.11,-0.11,0.3), (0.11,0.11,0.3,0.3)])

via_stack_19_1 = lib.new_cell('via_stack$19$1')
R(via_stack_19_1, GatPoly, [(-0.32,-0.32,0.32,0.32)])
R(via_stack_19_1, Cont, [(-0.25,-0.25,-0.09,-0.09), (0.09,-0.25,0.25,-0.09), (-0.25,0.09,-0.09,0.25), (0.09,0.09,0.25,0.25)])
R(via_stack_19_1, Metal1, [(-0.35,-0.31,0.35,0.31)])
R(via_stack_19_1, Metal2, [(-0.35,-0.305,0.35,0.305)])
R(via_stack_19_1, Via1, [(-0.3,-0.3,-0.11,-0.11), (0.11,-0.3,0.3,-0.11), (-0.3,0.11,-0.11,0.3), (0.11,0.11,0.3,0.3)])

via_stack_21_1 = lib.new_cell('via_stack$21$1')
R(via_stack_21_1, Metal1, [(-0.105,-1.375,0.105,1.375)])
R(via_stack_21_1, Metal2, [(-0.1,-1.375,0.1,1.375)])
A(via_stack_21_1, Via1, -0.095, -1.325, 0.19, 0.19, 1, 7, 0, 0.41)

via_stack_22_1 = lib.new_cell('via_stack$22$1')
R(via_stack_22_1, Metal1, [(-0.105,-0.555,0.105,0.555)])
R(via_stack_22_1, Metal2, [(-0.1,-0.555,0.1,0.555)])
A(via_stack_22_1, Via1, -0.095, -0.505, 0.19, 0.19, 1, 3, 0, 0.41)

ref_selector_cal_switch = lib.new_cell('ref_selector_cal_switch')
R(ref_selector_cal_switch, GatPoly, [(-0.665,5.68,0.575,6.32)])
R(ref_selector_cal_switch, Metal1, [(0.575,-5.5,1.09,6.32), (0.685,-0.79,0.845,0.825), (0.685,5.28,1.1,5.5)])
R(ref_selector_cal_switch, Metal1_pin, [(-1.615,-6.98,1.615,-6.68)])
R(ref_selector_cal_switch, Metal2, [(-2.365,-6.11,-0.52,-5.89), (-0.865,-5.445,2.26,-3.515), (-2.365,-2.54,-0.145,-0.61), (-2.365,-2.54,-1.285,2.43), (-2.365,0.5,-0.145,2.43), (-0.875,3.425,2.25,5.355), (0.39,5.855,1.09,7.01), (-2.365,5.89,-0.52,6.11)])
R(ref_selector_cal_switch, Metal2_pin, [(-2.365,-6.11,-1.955,-5.89), (1.81,-5.445,2.26,-3.515), (-2.365,-2.54,-1.825,2.43), (1.765,3.425,2.25,5.355), (-2.365,5.89,-1.83,6.11), (0.39,6.79,1.09,7.01)])
ref_selector_cal_switch.add(gdstk.Reference(via_stack_6_2, (-0.245,1.47)))
ref_selector_cal_switch.add(gdstk.Reference(via_stack_20_2, (0.23,3.15)))
r = gdstk.Reference(nmos_2_1, (-0.915,-5.5)); r.repetition = gdstk.Repetition(1, 2, v1=(0,0), v2=(0,6)); ref_selector_cal_switch.add(r)
ref_selector_cal_switch.add(gdstk.Reference(guard_ring_3_1, (0,0)))
ref_selector_cal_switch.add(gdstk.Reference(via_stack_6_2, (-0.245,-1.575)))
ref_selector_cal_switch.add(gdstk.Reference(via_stack_2_2, (-0.765,-4.48)))
ref_selector_cal_switch.add(gdstk.Reference(via_stack_8_2, (0,-6)))
ref_selector_cal_switch.add(gdstk.Reference(via_stack_18_2, (0.74,6.01)))
ref_selector_cal_switch.add(gdstk.Reference(via_stack_19_1, (-0.27,6)))
ref_selector_cal_switch.add(gdstk.Reference(via_stack_21_1, (-0.775,4.115)))
ref_selector_cal_switch.add(gdstk.Reference(via_stack_22_1, (0.23,-4.48)))
ref_selector_cal_switch.add(gdstk.Label('vss', (0,-6.98), layer=8, texttype=2))
ref_selector_cal_switch.add(gdstk.Label('i1ma', (-2.365,0.175), layer=10, texttype=2))
ref_selector_cal_switch.add(gdstk.Label('sensor', (2.25,4.39), layer=10, texttype=2))
ref_selector_cal_switch.add(gdstk.Label('vcal', (2.26,-4.48), layer=10, texttype=2))
ref_selector_cal_switch.add(gdstk.Label('sel_sensor', (-2.365,6), layer=10, texttype=2))
ref_selector_cal_switch.add(gdstk.Label('sel_cal', (-2.365,-6), layer=10, texttype=2))
ref_selector_cal_switch.add(gdstk.Label('vmeas', (1.035,7.01), layer=10, texttype=2))

via_stack_10_2 = lib.new_cell('via_stack$10$2')
R(via_stack_10_2, Metal1, [(-0.145,-0.105,0.145,0.105)])
R(via_stack_10_2, Metal2, [(-0.145,-0.1,0.145,0.1)])
R(via_stack_10_2, Via1, [(-0.095,-0.095,0.095,0.095)])

cmim = lib.new_cell('cmim')
R(cmim, MIM, [(0,0,10,20)])
R(cmim, Metal5, [(-0.6,-0.6,10.6,20.6)])
R(cmim, TopMetal1, [(-0.04,0.55,10.04,19.45)])
A(cmim, Vmim, 0.38, 0.97, 0.42, 0.42, 8, 15, 1.26, 1.26)

via_stack_15 = lib.new_cell('via_stack$15')
R(via_stack_15, Metal2, [(-0.555,-0.305,0.555,0.305)])
A(via_stack_15, Via2, -0.505, -0.3, 0.19, 0.19, 3, 2, 0.41, 0.41)
R(via_stack_15, Metal3, [(-0.555,-0.305,0.555,0.305)])
A(via_stack_15, Via3, -0.505, -0.3, 0.19, 0.19, 3, 2, 0.41, 0.41)
R(via_stack_15, Metal4, [(-0.555,-0.305,0.555,0.305)])
A(via_stack_15, Via4, -0.505, -0.3, 0.19, 0.19, 3, 2, 0.41, 0.41)
R(via_stack_15, Metal5, [(-0.555,-0.305,0.555,0.305)])

via_stack_14_2 = lib.new_cell('via_stack$14$2')
R(via_stack_14_2, Metal1, [(-0.865,-0.72,0.865,0.72)])
R(via_stack_14_2, Metal2, [(-0.865,-0.715,0.865,0.715)])
A(via_stack_14_2, Via1, -0.815, -0.71, 0.19, 0.19, 4, 4, 0.48, 0.41)
A(via_stack_14_2, Via2, -0.815, -0.71, 0.19, 0.19, 4, 4, 0.48, 0.41)
R(via_stack_14_2, Metal3, [(-0.865,-0.715,0.865,0.715)])
A(via_stack_14_2, Via3, -0.815, -0.71, 0.19, 0.19, 4, 4, 0.48, 0.41)
R(via_stack_14_2, Metal4, [(-0.865,-0.715,0.865,0.715)])
A(via_stack_14_2, Via4, -0.815, -0.71, 0.19, 0.19, 4, 4, 0.48, 0.41)
R(via_stack_14_2, Metal5, [(-0.865,-0.715,0.865,0.715)])
R(via_stack_14_2, TopVia1, [(-0.21,-0.21,0.21,0.21)])
R(via_stack_14_2, TopMetal1, [(-0.82,-0.82,0.82,0.82)])

via_stack_16_2 = lib.new_cell('via_stack$16$2')
R(via_stack_16_2, Metal2, [(-0.305,-0.965,0.305,0.965)])
A(via_stack_16_2, Via2, -0.3, -0.915, 0.19, 0.19, 1, 5, 0, 0.41)
A(via_stack_16_2, Via2, 0.11, -0.915, 0.19, 0.19, 1, 5, 0, 0.41)
R(via_stack_16_2, Metal3, [(-0.305,-0.965,0.305,0.965)])
A(via_stack_16_2, Via3, -0.3, -0.915, 0.19, 0.19, 1, 5, 0, 0.41)
A(via_stack_16_2, Via3, 0.11, -0.915, 0.19, 0.19, 1, 5, 0, 0.41)
R(via_stack_16_2, Metal4, [(-0.305,-0.965,0.305,0.965)])
A(via_stack_16_2, Via4, -0.3, -0.915, 0.19, 0.19, 1, 5, 0, 0.41)
A(via_stack_16_2, Via4, 0.11, -0.915, 0.19, 0.19, 1, 5, 0, 0.41)
R(via_stack_16_2, Metal5, [(-0.305,-0.965,0.305,0.965)])

ref_selector = lib.new_cell('ref_selector')
R(ref_selector, Metal1, [(19.495,0.03,21.055,18.94), (21.055,17.53,34.355,18.94), (1.995,18.69,20.695,20.03), (18.355,19.74,20.395,22.17), (1.66,22.55,14.16,22.71), (1.66,22.96,10.36,23.12), (1.67,23.37,2.77,23.53), (1.66,23.78,6.56,23.94), (1.645,24.19,21.475,24.35), (1.66,24.6,33.46,24.76)])
A(ref_selector, Metal1_pin, 1.66, 22.96, 0.29, 0.16, 1, 3, 0, 0.82)
R(ref_selector, Metal1_pin, [(2.295,0.03,34.355,0.33), (1.66,22.55,1.95,22.71), (1.67,23.37,1.95,23.53), (1.645,24.19,1.95,24.35)])
R(ref_selector, Metal2, [(19.165,2.86,19.525,6.74), (19.165,6.44,21.525,6.74), (20.03,8.485,21.385,8.685), (20.03,8.485,20.28,22.2), (21.93,10.55,23.86,18.745), (30.8,17.635,34.385,18.905), (4.32,18.58,11.93,18.91), (4.32,18.58,4.54,20.025), (16.085,18.71,16.33,20.06), (14.975,18.785,15.22,20.06), (12.455,18.79,12.7,19.435), (8.165,19.215,12.7,19.435), (8.165,19.215,8.385,20.025), (12.01,19.73,15.22,20.06), (15.755,19.73,16.33,20.06), (15.1,21.155,20.28,22.2), (15.1,21.56,20.28,24.76), (13.99,21.895,14.19,22.71), (2.59,21.91,2.79,23.53), (6.39,22.02,6.59,23.94), (10.19,22.02,10.39,23.12), (24.835,22.38,29.925,24.76), (21.265,22.51,21.485,24.35), (33.265,22.515,33.485,24.76)])
R(ref_selector, Metal2_pin, [(33.025,17.635,34.385,18.905), (15.1,23.51,20.28,24.76), (24.835,23.71,29.925,24.76)])
R(ref_selector, TopMetal1, [(2.675,0.66,32.47,2.305)])
ref_selector.add(gdstk.Reference(ref_selector_r_refs, (10.745,9.455), rotation=3*pi/2))
ref_selector.add(gdstk.Reference(ref_selector_r_switch, (10.175,20.965), rotation=3*pi/2))
ref_selector.add(gdstk.Reference(ref_selector_r_96, (27.705,8.78)))
ref_selector.add(gdstk.Reference(ref_selector_cal_switch, (27.375,20.555), rotation=3*pi/2))
ref_selector.add(gdstk.Reference(via_stack_10_2, (21.38,24.205), rotation=pi/2))
ref_selector.add(gdstk.Reference(via_stack_10_2, (33.38,24.615), rotation=pi/2))
ref_selector.add(gdstk.Reference(via_stack_10_2, (14.085,22.565), rotation=pi/2))
ref_selector.add(gdstk.Reference(via_stack_10_2, (10.29,23.105), rotation=pi/2))
ref_selector.add(gdstk.Reference(via_stack_10_2, (6.49,23.795), rotation=pi/2))
ref_selector.add(gdstk.Reference(via_stack_10_2, (2.735,23.435), rotation=pi))
ref_selector.add(gdstk.Reference(cmim, (2.715,1.205)))
ref_selector.add(gdstk.Reference(cmim, (22.43,1.205)))
ref_selector.add(gdstk.Reference(via_stack_15, (12.135,3.185)))
ref_selector.add(gdstk.Reference(via_stack_14_2, (18.03,1.485)))
ref_selector.add(gdstk.Reference(via_stack_16_2, (22.295,11.275)))
ref_selector.add(gdstk.Label('S0', (1.675,22.63), layer=8, texttype=2))
ref_selector.add(gdstk.Label('S1', (1.675,23.04), layer=8, texttype=2))
ref_selector.add(gdstk.Label('S2', (1.675,23.45), layer=8, texttype=2))
ref_selector.add(gdstk.Label('S3', (1.675,23.86), layer=8, texttype=2))
ref_selector.add(gdstk.Label('SEL_CAL', (1.675,24.27), layer=8, texttype=2))
ref_selector.add(gdstk.Label('SEL_SENSOR', (1.675,24.68), layer=8, texttype=2))
ref_selector.add(gdstk.Label('VSS', (20.275,0.03), layer=8, texttype=2))
ref_selector.add(gdstk.Label('VMIN', (21.03,6.595), layer=10, texttype=2))
ref_selector.add(gdstk.Label('VREF', (17.69,24.76), layer=10, texttype=2))
ref_selector.add(gdstk.Label('I1MA', (27.38,24.76), layer=10, texttype=2))
ref_selector.add(gdstk.Label('SENSOR', (34.385,18.27), layer=10, texttype=2))
ref_selector.add(gdstk.Label('VMEAS', (34.385,19.54), layer=10, texttype=2))

lib.write_gds('ref_selector.gds')
